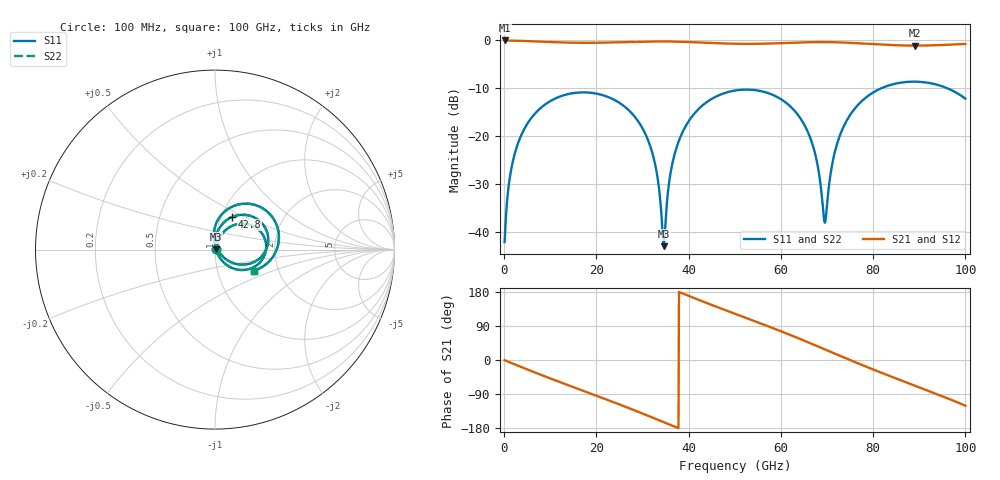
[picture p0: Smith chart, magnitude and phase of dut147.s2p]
! Touchstone file exported from HFSS 2026.1.0
!  File:  C:/ffzhzh/LocalFiles/Ansys_Project_Files/temp_train_TSV_RDL_147_1783463700_28540.aedt
!  Generated:  06:41:48 AM Jul  8, 2026
!  Design:  TSV_RDL
!  Project:  temp_train_TSV_RDL_147_1783463700_28540
! Variables:
!  h_bsmrdl = 2.81um
!  h_ox = 20um
!  h_rdl = 5um
!  h_sub = 78.61um
!  h_tmrdl = 2.95um
!  h_tsv = 78.61um
!  h_via = 3um
!  l_bsmrdl = 159.02um
!  l_sub = 1403.36um
!  l_tmrdl = 102.73um
!  m_sub = 200um
!  pitch = 40.49um
!  r_tsv = 11.01um
!  s_tmrdl = 10um
!  w_bsmrdl = 19.52um
!  w_sub = 500um
!  w_tmrdl = 18.94um
!  x_tsv_center1 = 112.2um
!  x_tsv_center2 = 290.74um
!  x_tsv_center3 = 412.41um
!  x_tsv_center4 = 590.95um
!  x_tsv_center5 = 712.62um
!  x_tsv_center6 = 891.16um
# GHz S MA R 50.000000
! Terminal data exported
! Port[1] = TM_RDL1_1_T1
! Port[2] = TM_RDL5_1_T1
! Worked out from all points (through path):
!   1000 points, 100 MHz to 100 GHz, reference 50 ohm
!   highest |S21| = -0.06 dB at 100 MHz (marker M1); lowest = -1.1 dB at 89.1 GHz (marker M2)
!   group delay of S21, straight-line fit = 13.3 ps
!   lowest |S11| = -42.9 dB at 34.6 GHz (marker M3), VSWR 1.01, Z = 50.7 + j0.2 ohm
!   |S11| at or under -10 dB: start of sweep to 81.8 GHz; 96.05 GHz to end of sweep
!   |S22| runs from -43.5 to -8.6 dB; largest |S21 - S12| = 1.7e-14
!   S11 on the Smith chart (normalised r, x): 100 MHz: 1.01, +0.01; 42.8 GHz: 1.13, +0.43; 100 GHz: 1.50, -0.37
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0.1  0.007922 24.2  0.9928 -0.5  0.9928 -0.5  0.007922 24.2
! Gamma 0 0 0 0
! Port Impedance 50 0 50 0
1.7  0.04979 69.6  0.9887 -8.6  0.9887 -8.6  0.04979 69.6
4.5  0.1222 61.7  0.98 -22.4  0.98 -22.4  0.1222 61.7
9.6  0.2257 39.3  0.9578 -46.8  0.9578 -46.8  0.2257 39.3
16.8  0.286 7.5  0.9388 -79.7  0.9388 -79.7  0.286 7.4
22.6  0.2553 -17.9  0.9448 -106.0  0.9448 -106.0  0.2553 -18.0
28.1  0.1642 -42.3  0.961 -132.0  0.961 -132.0  0.1641 -42.4
31.5  0.08329 -56.2  0.9686 -148.6  0.9686 -148.6  0.08318 -56.4
33.4  0.03331 -57.9  0.97 -158.1  0.97 -158.1  0.03315 -58.6
34.6  0.007177 15.9  0.9696 -164.0  0.9696 -164.0  0.00672 16.7
36  0.03936 86.4  0.9678 -171.0  0.9678 -171.0  0.03934 87.2
37.3  0.07426 85.1  0.965 -177.5  0.965 -177.5  0.07428 85.5
42.8  0.2052 62.3  0.9437 155.7  0.9437 155.7  0.2052 62.4
50.1  0.2993 29.8  0.9175 121.7  0.9175 121.7  0.2994 30.0
60.4  0.2364 -15.6  0.932 74.0  0.932 74.0  0.2364 -15.5
66.7  0.08658 -41.0  0.9527 42.7  0.9527 42.7  0.08661 -40.7
69.6  0.01274 35.5  0.9545 27.7  0.9545 27.7  0.01295 35.5
71.5  0.06263 94.8  0.9515 17.8  0.9515 17.8  0.06267 94.7
73.8  0.1318 89.3  0.9435 5.9  0.9435 5.9  0.1318 89.3
83.4  0.3379 46.7  0.8911 -41.3  0.8911 -41.3  0.3379 46.8
89.1  0.3698 21.3  0.878 -67.8  0.878 -67.8  0.3698 21.5
100  0.2462 -28.5  0.9132 -120.5  0.9132 -120.5  0.2462 -28.3
